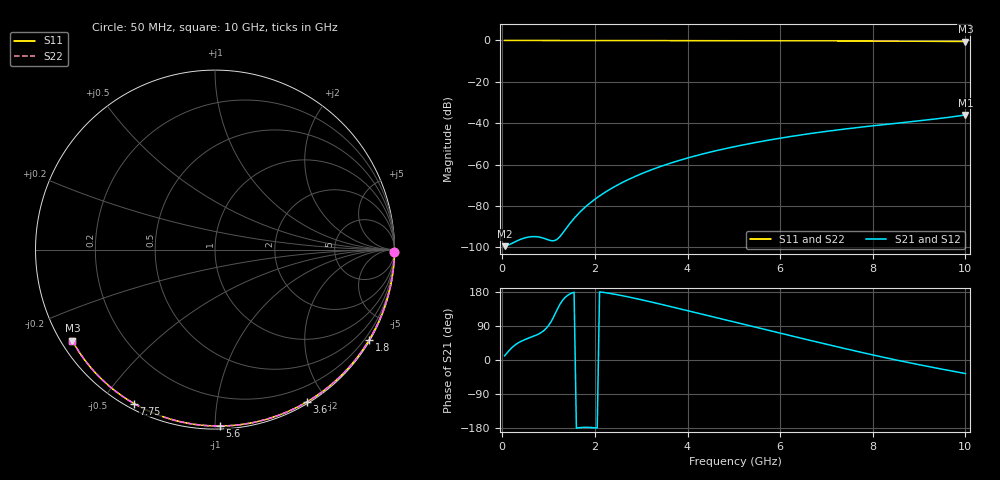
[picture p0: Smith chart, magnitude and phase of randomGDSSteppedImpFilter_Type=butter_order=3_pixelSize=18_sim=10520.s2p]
! freq	dB(S11)	phase(S11)	dB(S12)	phase(S12)
!  dB(S21)	phase(S21)	dB(S22)	phase(S22)
!S-par simulation data
#  GHz  S  DB  R 50
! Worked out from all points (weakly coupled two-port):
!   200 points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, 50 MHz to 10 GHz, reference 50 ohm
!   highest |S21| = -36.02 dB at 10 GHz (marker M1); lowest = -99.4 dB at 50 MHz (marker M2)
!   lowest |S11| = -0.5 dB at 10 GHz (marker M3), VSWR 33.97, Z = 1.6 - j14.6 ohm
!   |S11| at or under -10 dB: nowhere
!   |S22| runs from -0.5 to 0.0 dB; largest |S21 - S12| = 0
!   S11 on the Smith chart (normalised r, x): 50 MHz: open; 1.8 GHz: 0.03, -3.70; 3.6 GHz: 0.02, -1.77; 5.6 GHz: 0.02, -1.03; 7.75 GHz: 0.02, -0.60; 10 GHz: 0.03, -0.29
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0.05  -0.00 -0.9  -99.42 11.1  -99.42 11.1  -0.00 -0.9
0.45  -0.01 -7.7  -95.67 51.9  -95.67 51.9  -0.01 -7.7
0.9  -0.02 -15.3  -95.62 77.9  -95.62 77.9  -0.02 -15.3
1.75  -0.04 -29.4  -81.37 -177.8  -81.37 -177.8  -0.04 -29.4
1.8  -0.04 -30.2  -80.35 -177.6  -80.35 -177.6  -0.04 -30.2
1.85  -0.04 -31.1  -79.39 -177.7  -79.39 -177.7  -0.04 -31.1
2  -0.04 -33.5  -76.73 -178.9  -76.73 -178.9  -0.04 -33.5
2.15  -0.05 -36.0  -74.39 179.0  -74.39 179.0  -0.05 -36.0
2.5  -0.05 -41.6  -69.73 171.9  -69.73 171.9  -0.05 -41.6
2.9  -0.06 -48.0  -65.41 161.8  -65.41 161.8  -0.06 -48.0
3.4  -0.07 -55.9  -61.04 147.8  -61.04 147.8  -0.07 -55.9
3.6  -0.08 -59.0  -59.52 142.0  -59.52 142.0  -0.08 -59.0
3.9  -0.09 -63.6  -57.46 133.2  -57.46 133.2  -0.09 -63.6
4.3  -0.10 -69.6  -55.01 121.2  -55.01 121.2  -0.10 -69.6
5.05  -0.12 -80.6  -51.16 98.9  -51.16 98.9  -0.12 -80.6
5.6  -0.15 -88.5  -48.78 82.6  -48.78 82.6  -0.15 -88.5
6.15  -0.17 -96.2  -46.69 66.4  -46.69 66.4  -0.17 -96.2
6.7  -0.20 -103.7  -44.84 50.2  -44.84 50.2  -0.20 -103.7
7.75  -0.27 -117.7  -41.88 20.3  -41.88 20.3  -0.27 -117.7
8.35  -0.32 -125.6  -40.41 4.0  -40.41 4.0  -0.32 -125.6
9.2  -0.41 -136.7  -38.34 -17.3  -38.34 -17.3  -0.41 -136.8
10  -0.51 -147.4  -36.02 -35.7  -36.02 -35.7  -0.51 -147.4
